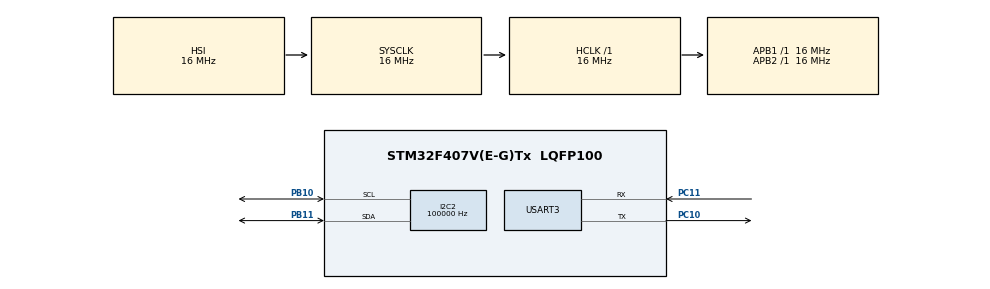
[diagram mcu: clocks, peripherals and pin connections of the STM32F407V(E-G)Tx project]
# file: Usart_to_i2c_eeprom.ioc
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Mcu.Family=STM32F4
NVIC.USART3_IRQn=true\:0\:0\:false\:false\:true\:false\:true\:true
RCC.PLLSourceVirtual=RCC_PLLSOURCE_HSE
PH0-OSC_IN.Signal=RCC_OSC_IN
RCC.CortexFreq_Value=16000000
FREERTOS.Tasks01=defaultTask,24,128,StartDefaultTask,Default,NULL,Dynamic,NULL,NULL
PB10.Mode=I2C
PC11.Signal=USART3_RX
PC10.Signal=USART3_TX
PC10.Mode=Asynchronous
PB11.Signal=I2C2_SDA
ProjectManager.StackSize=0x400
VP_FREERTOS_VS_CMSIS_V2.Mode=CMSIS_V2
PB11.Mode=I2C
ProjectManager.TargetToolchain=TrueSTUDIO
RCC.HCLKFreq_Value=16000000
RCC.APB2TimFreq_Value=16000000
NVIC.I2C2_ER_IRQn=true\:0\:0\:false\:false\:true\:false\:true\:true
RCC.LSE_VALUE=32768
RCC.AHBFreq_Value=16000000
PH0-OSC_IN.Mode=HSE-External-Oscillator
PB10.Signal=I2C2_SCL
RCC.HSE_VALUE=25000000
board=custom
RCC.VCOOutputFreq_Value=300000000
RCC.APB2Freq_Value=16000000
I2C2.ClockSpeed=100000
PH1-OSC_OUT.Signal=RCC_OSC_OUT
Mcu.Name=STM32F407V(E-G)Tx
PH1-OSC_OUT.Mode=HSE-External-Oscillator
RCC.48MHZClocksFreq_Value=75000000
RCC.SYSCLKFreq_VALUE=16000000
Mcu.Package=LQFP100
USART3.VirtualMode=VM_ASYNC
ProjectManager.HeapSize=0x200
PC11.Mode=Asynchronous
NVIC.I2C2_EV_IRQn=true\:0\:0\:false\:false\:true\:false\:true\:true
RCC.HSI_VALUE=16000000
FREERTOS.Mutexes01=myMtxUart3Tx,Dynamic,NULL;myMtxUart3Rx,Dynamic,NULL
NVIC.PriorityGroup=NVIC_PRIORITYGROUP_4
RCC.APB1TimFreq_Value=16000000
RCC.APB1Freq_Value=16000000
PB12.Signal=I2C2_SMBA

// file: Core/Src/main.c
/* USER CODE BEGIN Header */
/**
  ******************************************************************************
  * @file           : main.c
  * @brief          : Main program body
  ******************************************************************************
  * @attention
  *
  * <h2><center>&copy; Copyright (c) 2020 STMicroelectronics.
  * All rights reserved.</center></h2>
  *
  * This software component is licensed by ST under BSD 3-Clause license,
  * the "License"; You may not use this file except in compliance with the
  * License. You may obtain a copy of the License at:
  *                        opensource.org/licenses/BSD-3-Clause
  *
  ******************************************************************************
  */
/* USER CODE END Header */
#include "main.h"
#include "cmsis_os.h"
#include "i2c.h"
#include "usart.h"
#include "gpio.h"

/* USER CODE BEGIN PV */
#define OK 0
#define EQ 0

#define _red_  "\033[1;31m"
#define _yel_  "\033[1;33m"
#define _blu_  "\033[1;34m"
#define _end_  "\033[0m"
#define DEBUG_HEADER    _end_ "[" _yel_ "%22.22s" _end_ ":" _red_ "%04d" _end_ "][" _blu_ "%-24.24s" _end_ "] "

#define dbug0(T,fmt)  if(T) printf( DEBUG_HEADER fmt, __FILE__, __LINE__, __FUNCTION__ )
#define dbug(T,fmt, args...)  if(T) printf( DEBUG_HEADER fmt, __FILE__, __LINE__, __FUNCTION__, ##args)

#define BUFSIZ 	128

char rcvBuf[BUFSIZ] = {0,};
char rcvChar;
int rcvStart, rcvEnd, rcvCnt;

char sndBuf[BUFSIZ] = {0,};
int sndStart, sndEnd, toSndCnt;

typedef struct {
	uint8_t cmdType;
	uint8_t command;

} CMD;

uint8_t bufFull;

TaskHandle_t hTaskUsart3Rx;
TaskHandle_t hTaskCmdWorker;

const char *taskRxName = "UART3-RX Handler";
const char *taskWorkerName = "Command-Worker";

/* USER CODE END PV */

void SystemClock_Config(void);
void MX_FREERTOS_Init(void);

/* USER CODE BEGIN 0 */

int _write(int file, uint8_t *p, int len) {
	HAL_UART_Transmit(&huart3, p, len, 10);
	return len;
}

void HAL_UART_RxCpltCallback(UART_HandleTypeDef *huart)
{
  if (huart->Instance == huart3.Instance)  {
	  if (rcvStart <= rcvEnd)
		  rcvCnt = rcvEnd - rcvStart + 1;
	  else
		  rcvCnt = BUFSIZ - (rcvStart - rcvEnd) + 1;

	  if (rcvCnt < BUFSIZ) {
		  if (rcvEnd < BUFSIZ - 1)
			  rcvEnd++;
		  else
			  rcvEnd = 0;
		  bufFull = 0;
	  }
	  else {
		  bufFull = 1;
	  }

	  HAL_UART_Receive_IT(&huart3, &rcvChar, 1);
	  rcvBuf[rcvEnd] = rcvChar;
	  rcvCnt++;
  }
}

uint8_t GetRcvChar(uint8 *ecode)
{
	uint8_t rCh;

	*ecode = 0;
	if (rcvCnt == 0) {
		*ecode = -1;
		return 0;
	}

	if (rcvCnt == 1) {
		rCh = rcvBuf[rcvStart];
		rcvStart = rcvEnd = -1;
	}
	else {
		if (rcvStart == BUFSIZ-1) {
			rCh = rcvBuf[rcvStart];
			rcvStart = 0;
		}
		else {
			rCh = rcvBuf[rcvStart++];
		}
	}
	rcvCnt--;

	return rCh;
}

uint16_t GetRcvLine(uint8_t *pBuf, uint16_t *len)
{
	uint8_t ecode, start, end;
	uint8_t ch;
	uint16_t i;

	i = start = end = 0;

	ch = GetRcvChar(&ecode);
	while (ecode == 0 && end == 0) {
		if (i > *len-1) {
			return -2; // 버퍼 부족 에러
		}
		switch (ch) {
			case '/':
				ch0 = GetRcvChar(&ecode);
				if (ecode == 0 && ch0 == '/')
					pBuf[i++] = '/';
				else if (ecode == 0 && ch0 == '\n')
					pBuf[i++] = '\n';
				else {
					pBuf[i++] = ch;
					start = 1;
				}
				break;
			case '\n':
				pBuf[i++] = 0;
				end = 1;
				break;
			default:
				if (start)
					pBuf[i++] = ch;
		}
		ch = GetRcvChar(&ecode);
	}
	*len = i;

	return 0;
}

uint16_t parseCmdLine(uint8_t lineCmd, )
{

	return 0;
}

//void HAL_UART_TxCpltCallback(UART_HandleTypeDef *huart)
//{
//	if (huart->Instance == huart3.Instance)  {
//		// lock
//		if (sndStart < sndEnd) {
//			HAL_UART_Transmit_IT(&huart3, &sndBuf[sndStart++], 1);
//			toSndCnt = sndEnd - sndStart;
//		}
//		else if (sndStart == sndEnd && sndStart != -1) {
//			HAL_UART_Transmit_IT(&huart3, &sndBuf[sndStart], 1);
//			sndStart = sndEnd = -1;
//			toSndCnt = 0;
//		}
//		else { // (sndStart > sndEnd)
//			HAL_UART_Transmit_IT(&huart3, &sndBuf[sndStart++], 1);
//			if (sndStart > BUFSIZ)
//				sndStart = 0;
//			toSndCnt = BUFSIZ - (sndStart - sndEnd);
//		}
//		// unlock
//	}
//}

void Uart3Send(UART_HandleTypeDef *huart, uint8_t *data, uint16_t len)
{
	HAL_UART_Transmit(huart, data,  len, 20);
}

void vTaskUart3RxCmdHandler(void *pvParam)
{
	uint16_t err;
	uint8_t line[64];
	CMD CmdData;
	uint8_t cmdType, command;

	const char *pchTaskParam = (char*)pvParam;

	dbug(1, "Task Name: %s\n", pchTaskParam );

	bufFull = 0;
	rcvStart = rcvEnd = -1;   // 함수화
	HAL_UART_Receive_IT(&huart3, &rcvChar, 1);

	while (1)
	{
		memset(line, 0, siz=sizeof(line));
		if ((err = GetRcvLine(line, &siz)) == OK)  {
			HAL_UART_Transmit(&huart3, line, siz, 10);  // TODO: 10을 define
			err = parseCmdLine(line, &cmdData);
			if (err == OK) {
				cmdType = cmdData.cmdType;
				command = cmdData.command;
				switch (cmdType) {
				case 'C':  // 모듈 명령
					// message send to module process
					break;
				case 'M':  // 동작 제어
					// message send to manager process
					break;
				case 'P':  // 폴링
					// 응답 전송
					break;
				}
			}
			else {
				dbg(1, "E-PARSECMDLINE:%d\n", err);
			}
		}
		else {
			dbg(1, "E-GETLINE:%d\n", err);
		}

		vTaskDelay(500);
	}

}

void vTaskCmdWorker(void *pvParam)
{
	uint16_t err;

	const char *pchTaskParam = (char*)pvParam;

	dbug(1, "Task Name: %s\n", pchTaskParam );

	while (1) {

		vTaskDelay(500);
	}

}

/* USER CODE END 0 */

int main(void)
{

  /* MCU Configuration--------------------------------------------------------*/

  /* Reset of all peripherals, Initializes the Flash interface and the Systick. */
  HAL_Init();

  /* Configure the system clock */
  SystemClock_Config();

  /* Initialize all configured peripherals */
  MX_GPIO_Init();
  MX_I2C2_Init();
  MX_USART3_UART_Init();

  /* USER CODE BEGIN 2 */
  sndStart = sndEnd = toSndCnt = -1;
  rcvStart = rcvEnd = rcvCnt = -1;
  memset(sndBuf,  0, BUFSIZ);
  memset(rcvBuf,  0, BUFSIZ);

  /* USER CODE END 2 */

  /* Init scheduler */
  osKernelInitialize();  /* Call init function for freertos objects (in freertos.c) */
  MX_FREERTOS_Init();
  /* Start scheduler */
  osKernelStart();

  /* We should never get here as control is now taken by the scheduler */
  /* Infinite loop */

  /* USER CODE BEGIN WHILE */

  xTaskCreate(vTaskUart3RxCmdHandler, "vTaskUart3RxCmdHandler", 200, (void*)taskRxName,     1, &hTaskUsart3Rx);
  xTaskCreate(vTaskCmdWorker,         "vTaskCmdWorker",         200, (void*)taskWorkerName, 1, &hTaskCmdWorker);
  vTaskStartScheduler();

  while (1)
  {
    /* USER CODE END WHILE */
  }
}

void SystemClock_Config(void)
{
  RCC_OscInitTypeDef RCC_OscInitStruct = {0};
  RCC_ClkInitTypeDef RCC_ClkInitStruct = {0};

  /** Configure the main internal regulator output voltage
  */
  __HAL_RCC_PWR_CLK_ENABLE();
  __HAL_PWR_VOLTAGESCALING_CONFIG(PWR_REGULATOR_VOLTAGE_SCALE1);
  /** Initializes the RCC Oscillators according to the specified parameters
  * in the RCC_OscInitTypeDef structure.
  */
  RCC_OscInitStruct.OscillatorType = RCC_OSCILLATORTYPE_HSI;
  RCC_OscInitStruct.HSIState = RCC_HSI_ON;
  RCC_OscInitStruct.HSICalibrationValue = RCC_HSICALIBRATION_DEFAULT;
  RCC_OscInitStruct.PLL.PLLState = RCC_PLL_NONE;
  if (HAL_RCC_OscConfig(&RCC_OscInitStruct) != HAL_OK)
  {
    Error_Handler();
  }
  /** Initializes the CPU, AHB and APB buses clocks
  */
  RCC_ClkInitStruct.ClockType = RCC_CLOCKTYPE_HCLK|RCC_CLOCKTYPE_SYSCLK
                              |RCC_CLOCKTYPE_PCLK1|RCC_CLOCKTYPE_PCLK2;
  RCC_ClkInitStruct.SYSCLKSource = RCC_SYSCLKSOURCE_HSI;
  RCC_ClkInitStruct.AHBCLKDivider = RCC_SYSCLK_DIV1;
  RCC_ClkInitStruct.APB1CLKDivider = RCC_HCLK_DIV1;
  RCC_ClkInitStruct.APB2CLKDivider = RCC_HCLK_DIV1;

  if (HAL_RCC_ClockConfig(&RCC_ClkInitStruct, FLASH_LATENCY_0) != HAL_OK)
  {
    Error_Handler();
  }
}

void Error_Handler(void)
{
}

/************************ (C) COPYRIGHT STMicroelectronics *****END OF FILE****/

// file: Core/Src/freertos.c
/* USER CODE BEGIN Header */
/**
  ******************************************************************************
  * File Name          : freertos.c
  * Description        : Code for freertos applications
  ******************************************************************************
  * @attention
  *
  * <h2><center>&copy; Copyright (c) 2020 STMicroelectronics.
  * All rights reserved.</center></h2>
  *
  * This software component is licensed by ST under Ultimate Liberty license
  * SLA0044, the "License"; You may not use this file except in compliance with
  * the License. You may obtain a copy of the License at:
  *                             www.st.com/SLA0044
  *
  ******************************************************************************
  */
/* USER CODE END Header */

#include "FreeRTOS.h"
#include "task.h"
#include "main.h"
#include "cmsis_os.h"

/* Definitions for defaultTask */
osThreadId_t defaultTaskHandle;
const osThreadAttr_t defaultTask_attributes = {
  .name = "defaultTask",
  .priority = (osPriority_t) osPriorityNormal,
  .stack_size = 128 * 4
};
/* Definitions for myMtxUart3Tx */
osMutexId_t myMtxUart3TxHandle;
const osMutexAttr_t myMtxUart3Tx_attributes = {
  .name = "myMtxUart3Tx"
};
/* Definitions for myMtxUart3Rx */
osMutexId_t myMtxUart3RxHandle;
const osMutexAttr_t myMtxUart3Rx_attributes = {
  .name = "myMtxUart3Rx"
};

void StartDefaultTask(void *argument);

void MX_FREERTOS_Init(void); /* (MISRA C 2004 rule 8.1) */

void MX_FREERTOS_Init(void) {
  /* Create the mutex(es) */
  /* creation of myMtxUart3Tx */
  myMtxUart3TxHandle = osMutexNew(&myMtxUart3Tx_attributes);

  /* creation of myMtxUart3Rx */
  myMtxUart3RxHandle = osMutexNew(&myMtxUart3Rx_attributes);

  /* Create the thread(s) */
  /* creation of defaultTask */
  defaultTaskHandle = osThreadNew(StartDefaultTask, NULL, &defaultTask_attributes);

}

void StartDefaultTask(void *argument)
{
  for(;;)
  {
    osDelay(1);
  }
}

/************************ (C) COPYRIGHT STMicroelectronics *****END OF FILE****/
